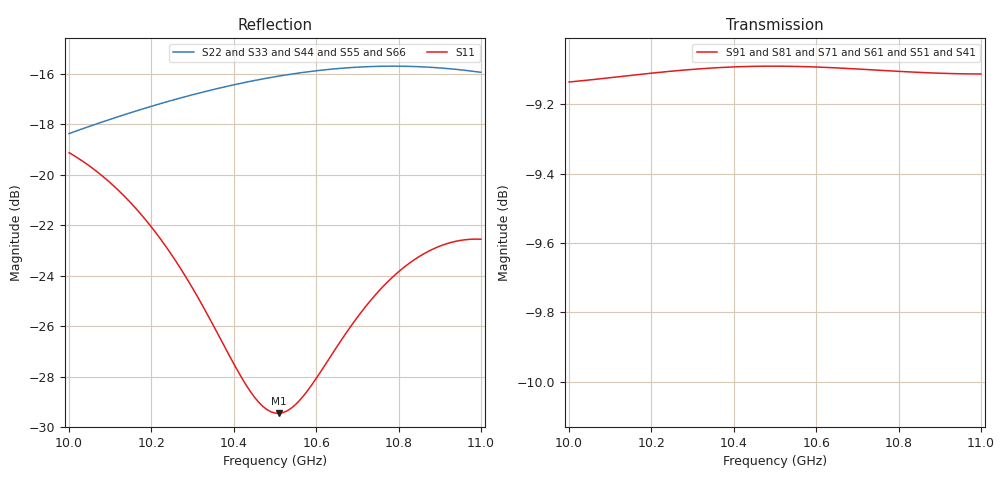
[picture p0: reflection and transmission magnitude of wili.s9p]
! Created Wed Aug  5 14:22:48 2026
# ghz S ma R 50
! 9 Port Network Data from SP1.SP block
! freq  magS11  angS11  magS12  angS12  magS13  angS13  magS14  angS14
!  magS15  angS15  magS16  angS16  magS17  angS17  magS18  angS18
!  magS19  angS19
!  magS21  angS21  magS22  angS22  magS23  angS23
!  magS24  angS24  magS25  angS25  magS26  angS26  magS27  angS27
!  magS28  angS28  magS29  angS29
!  magS31  angS31  magS32  angS32
!  magS33  angS33  magS34  angS34  magS35  angS35  magS36  angS36
!  magS37  angS37  magS38  angS38  magS39  angS39
!  magS41  angS41
!  magS42  angS42  magS43  angS43  magS44  angS44  magS45  angS45
!  magS46  angS46  magS47  angS47  magS48  angS48  magS49  angS49
!  magS51  angS51  magS52  angS52  magS53  angS53  magS54  angS54
!  magS55  angS55  magS56  angS56  magS57  angS57  magS58  angS58
!  magS59  angS59
!  magS61  angS61  magS62  angS62  magS63  angS63
!  magS64  angS64  magS65  angS65  magS66  angS66  magS67  angS67
!  magS68  angS68  magS69  angS69
!  magS71  angS71  magS72  angS72
!  magS73  angS73  magS74  angS74  magS75  angS75  magS76  angS76
!  magS77  angS77  magS78  angS78  magS79  angS79
!  magS81  angS81
!  magS82  angS82  magS83  angS83  magS84  angS84  magS85  angS85
!  magS86  angS86  magS87  angS87  magS88  angS88  magS89  angS89
!  magS91  angS91  magS92  angS92  magS93  angS93  magS94  angS94
!  magS95  angS95  magS96  angS96  magS97  angS97  magS98  angS98
!  magS99  angS99
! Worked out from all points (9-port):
!   101 points, 10 GHz to 11 GHz, reference 50 ohm
!   strongest paths, dB at 10 GHz, 10.25 GHz, 10.5 GHz, 10.75 GHz, 11 GHz:
!     S91: -9.1, -9.1, -9.1, -9.1, -9.1
!     S81: -9.1, -9.1, -9.1, -9.1, -9.1
!     S71: -9.1, -9.1, -9.1, -9.1, -9.1
!     S61: -9.1, -9.1, -9.1, -9.1, -9.1
!     S51: -9.1, -9.1, -9.1, -9.1, -9.1
!     S41: -9.1, -9.1, -9.1, -9.1, -9.1
!   lowest |S11| = -29.5 dB at 10.51 GHz (marker M1), VSWR 1.07, Z = 52.2 - j2.62 ohm
!   |S11| at or under -10 dB: start of sweep to end of sweep
